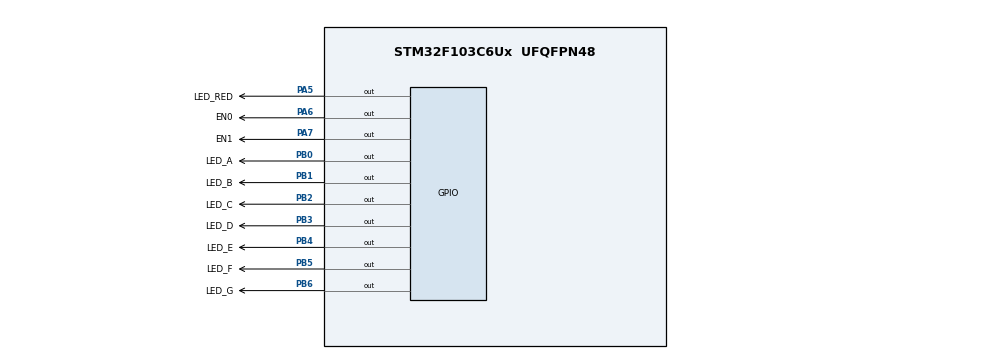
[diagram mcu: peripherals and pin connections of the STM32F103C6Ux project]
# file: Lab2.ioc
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Mcu.Family=STM32F1
Mcu.Name=STM32F103C6Ux
Mcu.Package=UFQFPN48
NVIC.PriorityGroup=NVIC_PRIORITYGROUP_4
NVIC.TIM2_IRQn=true\:0\:0\:false\:false\:true\:true\:true\:true
PA5.GPIO_Label=LED_RED
PA5.Signal=GPIO_Output
PA6.GPIO_Label=EN0
PA6.Signal=GPIO_Output
PA7.GPIO_Label=EN1
PA7.Signal=GPIO_Output
PB0.GPIO_Label=LED_A
PB0.Signal=GPIO_Output
PB1.GPIO_Label=LED_B
PB1.Signal=GPIO_Output
PB2.GPIO_Label=LED_C
PB2.Signal=GPIO_Output
PB3.GPIO_Label=LED_D
PB3.Signal=GPIO_Output
PB4.GPIO_Label=LED_E
PB4.Signal=GPIO_Output
PB5.GPIO_Label=LED_F
PB5.Signal=GPIO_Output
PB6.GPIO_Label=LED_G
PB6.Signal=GPIO_Output
ProjectManager.HeapSize=0x200
ProjectManager.StackSize=0x400
ProjectManager.TargetToolchain=STM32CubeIDE
RCC.APB1Freq_Value=8000000
RCC.APB2Freq_Value=8000000
TIM2.Period=9
TIM2.Prescaler=7999
VP_TIM2_VS_ClockSourceINT.Mode=Internal
board=custom

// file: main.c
/* USER CODE BEGIN Header */
/**
  ******************************************************************************
  * @file           : main.c
  * @brief          : Main program body
  ******************************************************************************
  * @attention
  *
  * Copyright (c) 2022 STMicroelectronics.
  * All rights reserved.
  *
  * This software is licensed under terms that can be found in the LICENSE file
  * in the root directory of this software component.
  * If no LICENSE file comes with this software, it is provided AS-IS.
  *
  ******************************************************************************
  */
/* USER CODE END Header */
#include "main.h"

TIM_HandleTypeDef htim2;

void SystemClock_Config(void);
static void MX_GPIO_Init(void);
static void MX_TIM2_Init(void);

int main(void)
{

  /* MCU Configuration--------------------------------------------------------*/

  /* Reset of all peripherals, Initializes the Flash interface and the Systick. */
  HAL_Init();

  /* Configure the system clock */
  SystemClock_Config();

  /* Initialize all configured peripherals */
  MX_GPIO_Init();
  MX_TIM2_Init();
  /* USER CODE BEGIN 2 */
  HAL_TIM_Base_Start_IT(&htim2);
  /* USER CODE END 2 */

  /* Infinite loop */
  while (1)
  {

  }
}

void SystemClock_Config(void)
{
  RCC_OscInitTypeDef RCC_OscInitStruct = {0};
  RCC_ClkInitTypeDef RCC_ClkInitStruct = {0};

  /** Initializes the RCC Oscillators according to the specified parameters
  * in the RCC_OscInitTypeDef structure.
  */
  RCC_OscInitStruct.OscillatorType = RCC_OSCILLATORTYPE_HSI;
  RCC_OscInitStruct.HSIState = RCC_HSI_ON;
  RCC_OscInitStruct.HSICalibrationValue = RCC_HSICALIBRATION_DEFAULT;
  RCC_OscInitStruct.PLL.PLLState = RCC_PLL_NONE;
  if (HAL_RCC_OscConfig(&RCC_OscInitStruct) != HAL_OK)
  {
    Error_Handler();
  }

  /** Initializes the CPU, AHB and APB buses clocks
  */
  RCC_ClkInitStruct.ClockType = RCC_CLOCKTYPE_HCLK|RCC_CLOCKTYPE_SYSCLK
                              |RCC_CLOCKTYPE_PCLK1|RCC_CLOCKTYPE_PCLK2;
  RCC_ClkInitStruct.SYSCLKSource = RCC_SYSCLKSOURCE_HSI;
  RCC_ClkInitStruct.AHBCLKDivider = RCC_SYSCLK_DIV1;
  RCC_ClkInitStruct.APB1CLKDivider = RCC_HCLK_DIV1;
  RCC_ClkInitStruct.APB2CLKDivider = RCC_HCLK_DIV1;

  if (HAL_RCC_ClockConfig(&RCC_ClkInitStruct, FLASH_LATENCY_0) != HAL_OK)
  {
    Error_Handler();
  }
}

static void MX_TIM2_Init(void)
{

  TIM_ClockConfigTypeDef sClockSourceConfig = {0};
  TIM_MasterConfigTypeDef sMasterConfig = {0};

  htim2.Instance = TIM2;
  htim2.Init.Prescaler = 7999;
  htim2.Init.CounterMode = TIM_COUNTERMODE_UP;
  htim2.Init.Period = 9;
  htim2.Init.ClockDivision = TIM_CLOCKDIVISION_DIV1;
  htim2.Init.AutoReloadPreload = TIM_AUTORELOAD_PRELOAD_DISABLE;
  if (HAL_TIM_Base_Init(&htim2) != HAL_OK)
  {
    Error_Handler();
  }
  sClockSourceConfig.ClockSource = TIM_CLOCKSOURCE_INTERNAL;
  if (HAL_TIM_ConfigClockSource(&htim2, &sClockSourceConfig) != HAL_OK)
  {
    Error_Handler();
  }
  sMasterConfig.MasterOutputTrigger = TIM_TRGO_RESET;
  sMasterConfig.MasterSlaveMode = TIM_MASTERSLAVEMODE_DISABLE;
  if (HAL_TIMEx_MasterConfigSynchronization(&htim2, &sMasterConfig) != HAL_OK)
  {
    Error_Handler();
  }

}

static void MX_GPIO_Init(void)
{
  GPIO_InitTypeDef GPIO_InitStruct = {0};

  /* GPIO Ports Clock Enable */
  __HAL_RCC_GPIOA_CLK_ENABLE();
  __HAL_RCC_GPIOB_CLK_ENABLE();

  /*Configure GPIO pin Output Level */
  HAL_GPIO_WritePin(GPIOA, LED_RED_Pin|EN0_Pin|EN1_Pin, GPIO_PIN_RESET);

  /*Configure GPIO pin Output Level */
  HAL_GPIO_WritePin(GPIOB, LED_A_Pin|LED_B_Pin|LED_C_Pin|LED_D_Pin
                          |LED_E_Pin|LED_F_Pin|LED_G_Pin, GPIO_PIN_RESET);

  /*Configure GPIO pins : LED_RED_Pin EN0_Pin EN1_Pin */
  GPIO_InitStruct.Pin = LED_RED_Pin|EN0_Pin|EN1_Pin;
  GPIO_InitStruct.Mode = GPIO_MODE_OUTPUT_PP;
  GPIO_InitStruct.Pull = GPIO_NOPULL;
  GPIO_InitStruct.Speed = GPIO_SPEED_FREQ_LOW;
  HAL_GPIO_Init(GPIOA, &GPIO_InitStruct);

  /*Configure GPIO pins : LED_A_Pin LED_B_Pin LED_C_Pin LED_D_Pin
                           LED_E_Pin LED_F_Pin LED_G_Pin */
  GPIO_InitStruct.Pin = LED_A_Pin|LED_B_Pin|LED_C_Pin|LED_D_Pin
                          |LED_E_Pin|LED_F_Pin|LED_G_Pin;
  GPIO_InitStruct.Mode = GPIO_MODE_OUTPUT_PP;
  GPIO_InitStruct.Pull = GPIO_NOPULL;
  GPIO_InitStruct.Speed = GPIO_SPEED_FREQ_LOW;
  HAL_GPIO_Init(GPIOB, &GPIO_InitStruct);

}

/* USER CODE BEGIN 4 */
void display7SEG(int num) {
	switch (num){
		case 0:
			HAL_GPIO_WritePin(LED_A_GPIO_Port, LED_A_Pin, RESET);
			HAL_GPIO_WritePin(LED_B_GPIO_Port, LED_B_Pin, RESET);
			HAL_GPIO_WritePin(LED_C_GPIO_Port, LED_C_Pin, RESET);
			HAL_GPIO_WritePin(LED_D_GPIO_Port, LED_D_Pin, RESET);
			HAL_GPIO_WritePin(LED_E_GPIO_Port, LED_E_Pin, RESET);
			HAL_GPIO_WritePin(LED_F_GPIO_Port, LED_F_Pin, RESET);
			HAL_GPIO_WritePin(LED_G_GPIO_Port, LED_G_Pin, SET);
			break;

		case 1:
			HAL_GPIO_WritePin(LED_A_GPIO_Port, LED_A_Pin, SET);
			HAL_GPIO_WritePin(LED_B_GPIO_Port, LED_B_Pin, RESET);
			HAL_GPIO_WritePin(LED_C_GPIO_Port, LED_C_Pin, RESET);
			HAL_GPIO_WritePin(LED_D_GPIO_Port, LED_D_Pin, SET);
			HAL_GPIO_WritePin(LED_E_GPIO_Port, LED_E_Pin, SET);
			HAL_GPIO_WritePin(LED_F_GPIO_Port, LED_F_Pin, SET);
			HAL_GPIO_WritePin(LED_G_GPIO_Port, LED_G_Pin, SET);
			break;

		case 2:
			HAL_GPIO_WritePin(LED_A_GPIO_Port, LED_A_Pin, RESET);
			HAL_GPIO_WritePin(LED_B_GPIO_Port, LED_B_Pin, RESET);
			HAL_GPIO_WritePin(LED_C_GPIO_Port, LED_C_Pin, SET);
			HAL_GPIO_WritePin(LED_D_GPIO_Port, LED_D_Pin, RESET);
			HAL_GPIO_WritePin(LED_E_GPIO_Port, LED_E_Pin, RESET);
			HAL_GPIO_WritePin(LED_F_GPIO_Port, LED_F_Pin, SET);
			HAL_GPIO_WritePin(LED_G_GPIO_Port, LED_G_Pin, RESET);
			break;

		case 3:
			HAL_GPIO_WritePin(LED_A_GPIO_Port, LED_A_Pin, RESET);
			HAL_GPIO_WritePin(LED_B_GPIO_Port, LED_B_Pin, RESET);
			HAL_GPIO_WritePin(LED_C_GPIO_Port, LED_C_Pin, RESET);
			HAL_GPIO_WritePin(LED_D_GPIO_Port, LED_D_Pin, RESET);
			HAL_GPIO_WritePin(LED_E_GPIO_Port, LED_E_Pin, SET);
			HAL_GPIO_WritePin(LED_F_GPIO_Port, LED_F_Pin, SET);
			HAL_GPIO_WritePin(LED_G_GPIO_Port, LED_G_Pin, RESET);
			break;

		case 4:
			HAL_GPIO_WritePin(LED_A_GPIO_Port, LED_A_Pin, SET);
			HAL_GPIO_WritePin(LED_B_GPIO_Port, LED_B_Pin, RESET);
			HAL_GPIO_WritePin(LED_C_GPIO_Port, LED_C_Pin, RESET);
			HAL_GPIO_WritePin(LED_D_GPIO_Port, LED_D_Pin, SET);
			HAL_GPIO_WritePin(LED_E_GPIO_Port, LED_E_Pin, SET);
			HAL_GPIO_WritePin(LED_F_GPIO_Port, LED_F_Pin, RESET);
			HAL_GPIO_WritePin(LED_G_GPIO_Port, LED_G_Pin, RESET);
			break;

		case 5:
			HAL_GPIO_WritePin(LED_A_GPIO_Port, LED_A_Pin, RESET);
			HAL_GPIO_WritePin(LED_B_GPIO_Port, LED_B_Pin, SET);
			HAL_GPIO_WritePin(LED_C_GPIO_Port, LED_C_Pin, RESET);
			HAL_GPIO_WritePin(LED_D_GPIO_Port, LED_D_Pin, RESET);
			HAL_GPIO_WritePin(LED_E_GPIO_Port, LED_E_Pin, SET);
			HAL_GPIO_WritePin(LED_F_GPIO_Port, LED_F_Pin, RESET);
			HAL_GPIO_WritePin(LED_G_GPIO_Port, LED_G_Pin, RESET);
			break;

		case 6:
			HAL_GPIO_WritePin(LED_A_GPIO_Port, LED_A_Pin, RESET);
			HAL_GPIO_WritePin(LED_B_GPIO_Port, LED_B_Pin, SET);
			HAL_GPIO_WritePin(LED_C_GPIO_Port, LED_C_Pin, RESET);
			HAL_GPIO_WritePin(LED_D_GPIO_Port, LED_D_Pin, RESET);
			HAL_GPIO_WritePin(LED_E_GPIO_Port, LED_E_Pin, RESET);
			HAL_GPIO_WritePin(LED_F_GPIO_Port, LED_F_Pin, RESET);
			HAL_GPIO_WritePin(LED_G_GPIO_Port, LED_G_Pin, RESET);
			break;

		case 7:
			HAL_GPIO_WritePin(LED_A_GPIO_Port, LED_A_Pin, RESET);
			HAL_GPIO_WritePin(LED_B_GPIO_Port, LED_B_Pin, RESET);
			HAL_GPIO_WritePin(LED_C_GPIO_Port, LED_C_Pin, RESET);
			HAL_GPIO_WritePin(LED_D_GPIO_Port, LED_D_Pin, SET);
			HAL_GPIO_WritePin(LED_E_GPIO_Port, LED_E_Pin, SET);
			HAL_GPIO_WritePin(LED_F_GPIO_Port, LED_F_Pin, SET);
			HAL_GPIO_WritePin(LED_G_GPIO_Port, LED_G_Pin, SET);
			break;

		case 8:
			HAL_GPIO_WritePin(LED_A_GPIO_Port, LED_A_Pin, RESET);
			HAL_GPIO_WritePin(LED_B_GPIO_Port, LED_B_Pin, RESET);
			HAL_GPIO_WritePin(LED_C_GPIO_Port, LED_C_Pin, RESET);
			HAL_GPIO_WritePin(LED_D_GPIO_Port, LED_D_Pin, RESET);
			HAL_GPIO_WritePin(LED_E_GPIO_Port, LED_E_Pin, RESET);
			HAL_GPIO_WritePin(LED_F_GPIO_Port, LED_F_Pin, RESET);
			HAL_GPIO_WritePin(LED_G_GPIO_Port, LED_G_Pin, RESET);
			break;

		case 9:
			HAL_GPIO_WritePin(LED_A_GPIO_Port, LED_A_Pin, RESET);
			HAL_GPIO_WritePin(LED_B_GPIO_Port, LED_B_Pin, RESET);
			HAL_GPIO_WritePin(LED_C_GPIO_Port, LED_C_Pin, RESET);
			HAL_GPIO_WritePin(LED_D_GPIO_Port, LED_D_Pin, RESET);
			HAL_GPIO_WritePin(LED_E_GPIO_Port, LED_E_Pin, SET);
			HAL_GPIO_WritePin(LED_F_GPIO_Port, LED_F_Pin, RESET);
			HAL_GPIO_WritePin(LED_G_GPIO_Port, LED_G_Pin, RESET);
			break;
	}
}
int counter = 50;
int select = 0;
void HAL_TIM_PeriodElapsedCallback ( TIM_HandleTypeDef * htim )
{
	counter --;
	if (select == 0 && counter == 0)
	{
		display7SEG(1);
		HAL_GPIO_WritePin(EN1_GPIO_Port, EN1_Pin, GPIO_PIN_SET);
		HAL_GPIO_WritePin(EN0_GPIO_Port, EN0_Pin, GPIO_PIN_RESET);
		select = 1;
		counter = 50;
	}
	else if(select == 1 && counter ==0)
	{
		display7SEG(2);
		HAL_GPIO_WritePin(EN0_GPIO_Port, EN0_Pin, GPIO_PIN_SET);
		HAL_GPIO_WritePin(EN1_GPIO_Port, EN1_Pin, GPIO_PIN_RESET);
		select = 0;
		counter = 50;
	}
}
/* USER CODE END 4 */

void Error_Handler(void)
{
  __disable_irq();
  while (1)
  {
  }
}
